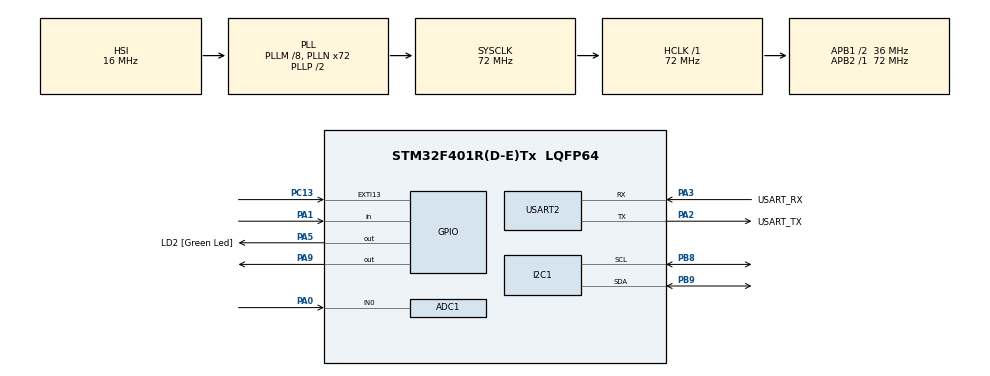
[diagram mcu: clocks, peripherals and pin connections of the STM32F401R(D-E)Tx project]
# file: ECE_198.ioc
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ADC1.Channel-0\#ChannelRegularConversion=ADC_CHANNEL_0
ADC1.NbrOfConversionFlag=1
ADC1.Rank-0\#ChannelRegularConversion=1
ADC1.SamplingTime-0\#ChannelRegularConversion=ADC_SAMPLETIME_3CYCLES
ADC1.master=1
Mcu.Family=STM32F4
Mcu.Name=STM32F401R(D-E)Tx
Mcu.Package=LQFP64
NVIC.PriorityGroup=NVIC_PRIORITYGROUP_0
PA0-WKUP.Signal=ADCx_IN0
PA1.Signal=GPIO_Input
PA13.GPIO_Label=TMS
PA13.Mode=Serial_Wire
PA13.Signal=SYS_JTMS-SWDIO
PA14.GPIO_Label=TCK
PA14.Mode=Serial_Wire
PA14.Signal=SYS_JTCK-SWCLK
PA2.GPIO_Label=USART_TX
PA2.GPIO_Mode=GPIO_MODE_AF_PP
PA2.GPIO_PuPd=GPIO_NOPULL
PA2.GPIO_Speed=GPIO_SPEED_FREQ_LOW
PA2.Mode=Asynchronous
PA2.Signal=USART2_TX
PA3.GPIO_Label=USART_RX
PA3.GPIO_Mode=GPIO_MODE_AF_PP
PA3.GPIO_PuPd=GPIO_NOPULL
PA3.GPIO_Speed=GPIO_SPEED_FREQ_LOW
PA3.Mode=Asynchronous
PA3.Signal=USART2_RX
PA5.GPIO_Label=LD2 [Green Led]
PA5.GPIO_Mode=GPIO_MODE_OUTPUT_PP
PA5.GPIO_PuPd=GPIO_NOPULL
PA5.GPIO_Speed=GPIO_SPEED_FREQ_LOW
PA5.Signal=GPIO_Output
PA9.Signal=GPIO_Output
PB3.GPIO_Label=SWO
PB3.Signal=SYS_JTDO-SWO
PB8.Mode=I2C
PB8.Signal=I2C1_SCL
PB9.Mode=I2C
PB9.Signal=I2C1_SDA
PC13-ANTI_TAMP.Signal=GPXTI13
PC14-OSC32_IN.Mode=LSE-External-Oscillator
PC14-OSC32_IN.Signal=RCC_OSC32_IN
PC15-OSC32_OUT.Mode=LSE-External-Oscillator
PC15-OSC32_OUT.Signal=RCC_OSC32_OUT
PH0\ -\ OSC_IN.Mode=HSE-External-Clock-Source
PH0\ -\ OSC_IN.Signal=RCC_OSC_IN
PH1\ -\ OSC_OUT.Mode=HSE-External-Clock-Source
PH1\ -\ OSC_OUT.Signal=RCC_OSC_OUT
ProjectManager.HeapSize=0x200
ProjectManager.StackSize=0x400
ProjectManager.TargetToolchain=STM32CubeIDE
RCC.48MHZClocksFreq_Value=20571428.57142857
RCC.AHBFreq_Value=72000000
RCC.APB1CLKDivider=RCC_HCLK_DIV2
RCC.APB1Freq_Value=36000000
RCC.APB1TimFreq_Value=72000000
RCC.APB2Freq_Value=72000000
RCC.APB2TimFreq_Value=72000000
RCC.CortexFreq_Value=72000000
RCC.HCLKFreq_Value=72000000
RCC.HSE_VALUE=8000000
RCC.HSI_VALUE=16000000
RCC.PLLM=8
RCC.PLLN=72
RCC.PLLQ=7
RCC.SYSCLKFreq_VALUE=72000000
RCC.SYSCLKSource=RCC_SYSCLKSOURCE_PLLCLK
RCC.VCOOutputFreq_Value=144000000
SH.ADCx_IN0.0=ADC1_IN0,IN0
USART2.VirtualMode=VM_ASYNC
board=NUCLEO-F401RE

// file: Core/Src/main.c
/* USER CODE BEGIN Header */
/**
  ******************************************************************************
  * @file           : main.c
  * @brief          : Main program body
  ******************************************************************************
  * @attention
  *
  * Copyright (c) 2023 STMicroelectronics.
  * All rights reserved.
  *
  * This software is licensed under terms that can be found in the LICENSE file
  * in the root directory of this software component.
  * If no LICENSE file comes with this software, it is provided AS-IS.
  *
  ******************************************************************************
  */
/* USER CODE END Header */
#include "main.h"

/* USER CODE BEGIN Includes */
#include <string.h>
#include <stdbool.h>
#include <stdio.h>
#include <float.h>
#include <stdio.h>
#include <stdlib.h>
/* USER CODE END Includes */

ADC_HandleTypeDef hadc1;

I2C_HandleTypeDef hi2c1;

UART_HandleTypeDef huart2;

void SystemClock_Config(void);
static void MX_GPIO_Init(void);
static void MX_USART2_UART_Init(void);
static void MX_I2C1_Init(void);
static void MX_ADC1_Init(void);

/* USER CODE BEGIN 0 */

enum stage { reset, set_temp, watch_temp, buzz };

/* USER CODE END 0 */

int main(void)
{

  /* MCU Configuration--------------------------------------------------------*/

  /* Reset of all peripherals, Initializes the Flash interface and the Systick. */
  HAL_Init();

  /* USER CODE BEGIN Init */
  uint16_t potentiometerValue;
  uint16_t user_temp = 20;
  uint16_t init_temp;
  enum stage curr = reset;
  /* USER CODE END Init */

  /* Configure the system clock */
  SystemClock_Config();

  /* Initialize all configured peripherals */
  MX_GPIO_Init();
  MX_USART2_UART_Init();
  MX_I2C1_Init();
  MX_ADC1_Init();
  /* USER CODE BEGIN 2 */
  // Display vars below:
  HD44780_Init(2);
  HD44780_Clear();
  HD44780_SetCursor(0,0);
  HD44780_PrintStr("Hi there!");
  HAL_Delay(1700);
  HD44780_Clear();
  /* USER CODE END 2 */

  /* Infinite loop */
  /* USER CODE BEGIN WHILE */
  while (1)
  {
	  if(curr==reset) {
		  if(HAL_GPIO_ReadPin(GPIOA, GPIO_PIN_1) == 0) {
			  curr = set_temp;
			  // Take temperature measurement
			  char i2cdata[2];
			  float temperature;
			  HAL_I2C_Mem_Read(&hi2c1, 0xB4, 0x07, 1, (uint8_t*)i2cdata, 2, 100);
			  int raw_temp = ((i2cdata[1] << 8) | (i2cdata[0]));
			  temperature = raw_temp*0.02 - 273.15;
			  init_temp = temperature;
			  HAL_Delay(10);
			  // Print to display
			  HD44780_Clear();
			  HD44780_SetCursor(0,0);
			  char tempString[10];
			  sprintf(tempString, "%d", (int)temperature);
			  HD44780_PrintStr("Measured temperature:");
			  HD44780_SetCursor(0,1);
			  HD44780_PrintStr(tempString);
			  HAL_Delay(1000);
		  } else {
			  HD44780_Clear();
			  HD44780_SetCursor(0,0);
			  HD44780_PrintStr("Push button");
			  HD44780_SetCursor(0, 1);
			  HD44780_PrintStr("to start");
			  HAL_Delay(1);
		  }
	  } else if(curr==set_temp) {
		  HAL_ADC_Start(&hadc1); // take potentiometer input
		  HAL_ADC_PollForConversion(&hadc1, HAL_MAX_DELAY);
		  potentiometerValue = HAL_ADC_GetValue(&hadc1); // take potentiometer value
		  uint16_t targetTemp = ((potentiometerValue)*(init_temp - 20)/4095)+20; // LINEAR INTERPOLATION FORMULA
		  // Set display params
		  HD44780_Clear();
		  HD44780_SetCursor(0,0);
		  HD44780_PrintStr("Set temperature:"); // print message and temperature
		  char tempString[10];
		  sprintf(tempString, "%hu", targetTemp);
		  HD44780_SetCursor(0,1);
		  HD44780_PrintStr(tempString); // temperature out!
		  HAL_Delay(10);
		  if(HAL_GPIO_ReadPin(GPIOA, GPIO_PIN_1) == 0) {
			  user_temp = targetTemp;
			  curr = watch_temp;
		  }
	  } else if(curr==watch_temp) {
		  // TODO: take temperature measurement -> DONE
		  char i2cdata[2];
		  float temperature;
		  HAL_I2C_Mem_Read(&hi2c1, 0xB4, 0x07, 1, (uint8_t*)i2cdata, 2, 100);
		  int raw_temp = ((i2cdata[1] << 8) | (i2cdata[0]));
		  temperature = raw_temp*0.02 - 273.15;
		  // TODO: print to display -> DONE
		  HD44780_Clear();
		  HD44780_SetCursor(0,0);
		  char tempString[10];
		  sprintf(tempString, "%d", (int)temperature);
		  HD44780_PrintStr("Measured temp:");
		  HD44780_PrintStr(tempString);
		  // TODO: compare with user temp, if close, then BUZZ -> DONE
		  HAL_Delay(1000); // allows user one second before buzz check and activate
		  if(abs(user_temp - temperature)<5) {
			  curr = buzz;
			  continue;
		  } else if(temperature < user_temp) {
			  curr = buzz; // new redundancy feature - if both user_temp and temperature are high but if cup pulled away...
			  continue;
		  }
		  HAL_Delay(9000); // between temp measurements, an overall delay of 10 seconds (subject to change)
	  } else if(curr==buzz) {
		  HAL_GPIO_WritePin(GPIOA, GPIO_PIN_9, GPIO_PIN_SET);
		  HAL_Delay(500);
		  HAL_GPIO_WritePin(GPIOA, GPIO_PIN_9, GPIO_PIN_RESET);
		  // Print display prompt
		  HD44780_Clear();
		  HD44780_SetCursor(0,0);
		  HD44780_PrintStr("Push button");
		  HD44780_SetCursor(0, 1);
		  HD44780_PrintStr("to stop");
		  HAL_Delay(1);
		  if(HAL_GPIO_ReadPin(GPIOA, GPIO_PIN_1) == 0) {
			  curr = reset;
			  HAL_Delay(1000); // bug fix - delay
		  }
	  }
    /* USER CODE END WHILE */
    /* USER CODE BEGIN 3 */
  }
  HD44780_Clear();
  /* USER CODE END 3 */
}

void SystemClock_Config(void)
{
  RCC_OscInitTypeDef RCC_OscInitStruct = {0};
  RCC_ClkInitTypeDef RCC_ClkInitStruct = {0};

  /** Configure the main internal regulator output voltage
  */
  __HAL_RCC_PWR_CLK_ENABLE();
  __HAL_PWR_VOLTAGESCALING_CONFIG(PWR_REGULATOR_VOLTAGE_SCALE2);

  /** Initializes the RCC Oscillators according to the specified parameters
  * in the RCC_OscInitTypeDef structure.
  */
  RCC_OscInitStruct.OscillatorType = RCC_OSCILLATORTYPE_HSI;
  RCC_OscInitStruct.HSIState = RCC_HSI_ON;
  RCC_OscInitStruct.HSICalibrationValue = RCC_HSICALIBRATION_DEFAULT;
  RCC_OscInitStruct.PLL.PLLState = RCC_PLL_ON;
  RCC_OscInitStruct.PLL.PLLSource = RCC_PLLSOURCE_HSI;
  RCC_OscInitStruct.PLL.PLLM = 8;
  RCC_OscInitStruct.PLL.PLLN = 72;
  RCC_OscInitStruct.PLL.PLLP = RCC_PLLP_DIV2;
  RCC_OscInitStruct.PLL.PLLQ = 7;
  if (HAL_RCC_OscConfig(&RCC_OscInitStruct) != HAL_OK)
  {
    Error_Handler();
  }

  /** Initializes the CPU, AHB and APB buses clocks
  */
  RCC_ClkInitStruct.ClockType = RCC_CLOCKTYPE_HCLK|RCC_CLOCKTYPE_SYSCLK
                              |RCC_CLOCKTYPE_PCLK1|RCC_CLOCKTYPE_PCLK2;
  RCC_ClkInitStruct.SYSCLKSource = RCC_SYSCLKSOURCE_PLLCLK;
  RCC_ClkInitStruct.AHBCLKDivider = RCC_SYSCLK_DIV1;
  RCC_ClkInitStruct.APB1CLKDivider = RCC_HCLK_DIV2;
  RCC_ClkInitStruct.APB2CLKDivider = RCC_HCLK_DIV1;

  if (HAL_RCC_ClockConfig(&RCC_ClkInitStruct, FLASH_LATENCY_2) != HAL_OK)
  {
    Error_Handler();
  }
}

static void MX_ADC1_Init(void)
{

  ADC_ChannelConfTypeDef sConfig = {0};

  /** Configure the global features of the ADC (Clock, Resolution, Data Alignment and number of conversion)
  */
  hadc1.Instance = ADC1;
  hadc1.Init.ClockPrescaler = ADC_CLOCK_SYNC_PCLK_DIV2;
  hadc1.Init.Resolution = ADC_RESOLUTION_12B;
  hadc1.Init.ScanConvMode = DISABLE;
  hadc1.Init.ContinuousConvMode = DISABLE;
  hadc1.Init.DiscontinuousConvMode = DISABLE;
  hadc1.Init.ExternalTrigConvEdge = ADC_EXTERNALTRIGCONVEDGE_NONE;
  hadc1.Init.ExternalTrigConv = ADC_SOFTWARE_START;
  hadc1.Init.DataAlign = ADC_DATAALIGN_RIGHT;
  hadc1.Init.NbrOfConversion = 1;
  hadc1.Init.DMAContinuousRequests = DISABLE;
  hadc1.Init.EOCSelection = ADC_EOC_SINGLE_CONV;
  if (HAL_ADC_Init(&hadc1) != HAL_OK)
  {
    Error_Handler();
  }

  /** Configure for the selected ADC regular channel its corresponding rank in the sequencer and its sample time.
  */
  sConfig.Channel = ADC_CHANNEL_0;
  sConfig.Rank = 1;
  sConfig.SamplingTime = ADC_SAMPLETIME_3CYCLES;
  if (HAL_ADC_ConfigChannel(&hadc1, &sConfig) != HAL_OK)
  {
    Error_Handler();
  }

}

static void MX_I2C1_Init(void)
{

  hi2c1.Instance = I2C1;
  hi2c1.Init.ClockSpeed = 100000;
  hi2c1.Init.DutyCycle = I2C_DUTYCYCLE_2;
  hi2c1.Init.OwnAddress1 = 0;
  hi2c1.Init.AddressingMode = I2C_ADDRESSINGMODE_7BIT;
  hi2c1.Init.DualAddressMode = I2C_DUALADDRESS_DISABLE;
  hi2c1.Init.OwnAddress2 = 0;
  hi2c1.Init.GeneralCallMode = I2C_GENERALCALL_DISABLE;
  hi2c1.Init.NoStretchMode = I2C_NOSTRETCH_DISABLE;
  if (HAL_I2C_Init(&hi2c1) != HAL_OK)
  {
    Error_Handler();
  }

}

static void MX_USART2_UART_Init(void)
{

  huart2.Instance = USART2;
  huart2.Init.BaudRate = 115200;
  huart2.Init.WordLength = UART_WORDLENGTH_8B;
  huart2.Init.StopBits = UART_STOPBITS_1;
  huart2.Init.Parity = UART_PARITY_NONE;
  huart2.Init.Mode = UART_MODE_TX_RX;
  huart2.Init.HwFlowCtl = UART_HWCONTROL_NONE;
  huart2.Init.OverSampling = UART_OVERSAMPLING_16;
  if (HAL_UART_Init(&huart2) != HAL_OK)
  {
    Error_Handler();
  }

}

static void MX_GPIO_Init(void)
{
  GPIO_InitTypeDef GPIO_InitStruct = {0};

  /* GPIO Ports Clock Enable */
  __HAL_RCC_GPIOC_CLK_ENABLE();
  __HAL_RCC_GPIOH_CLK_ENABLE();
  __HAL_RCC_GPIOA_CLK_ENABLE();
  __HAL_RCC_GPIOB_CLK_ENABLE();

  /*Configure GPIO pin Output Level */
  HAL_GPIO_WritePin(GPIOA, LD2_Pin|GPIO_PIN_9, GPIO_PIN_RESET);

  /*Configure GPIO pin : PC13 */
  GPIO_InitStruct.Pin = GPIO_PIN_13;
  GPIO_InitStruct.Mode = GPIO_MODE_IT_RISING;
  GPIO_InitStruct.Pull = GPIO_NOPULL;
  HAL_GPIO_Init(GPIOC, &GPIO_InitStruct);

  /*Configure GPIO pin : PA1 */
  GPIO_InitStruct.Pin = GPIO_PIN_1;
  GPIO_InitStruct.Mode = GPIO_MODE_INPUT;
  GPIO_InitStruct.Pull = GPIO_NOPULL;
  HAL_GPIO_Init(GPIOA, &GPIO_InitStruct);

  /*Configure GPIO pins : LD2_Pin PA9 */
  GPIO_InitStruct.Pin = LD2_Pin|GPIO_PIN_9;
  GPIO_InitStruct.Mode = GPIO_MODE_OUTPUT_PP;
  GPIO_InitStruct.Pull = GPIO_NOPULL;
  GPIO_InitStruct.Speed = GPIO_SPEED_FREQ_LOW;
  HAL_GPIO_Init(GPIOA, &GPIO_InitStruct);

}

void Error_Handler(void)
{
  __disable_irq();
  while (1)
  {
  }
}
